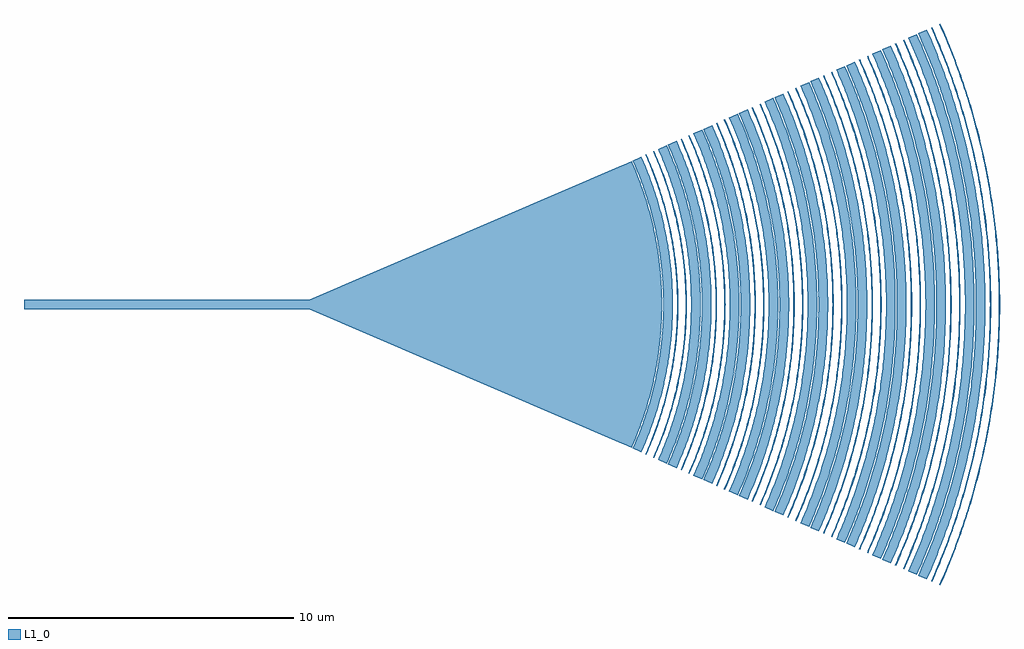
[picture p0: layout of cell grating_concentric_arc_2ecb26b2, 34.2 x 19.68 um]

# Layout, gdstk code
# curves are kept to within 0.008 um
import gdstk
lib = gdstk.Library(unit=1e-6, precision=2e-09)
def R(c, l, rs):  # rectangles x0, y0, x1, y1
    for r in rs: c.add(gdstk.rectangle(r[:2], r[2:], *l))
def P(c, l, *ps):  # polygons
    for p in ps: c.add(gdstk.Polygon(p, *l))
L1_0 = (1, 0)

straight_3aa2beef = lib.new_cell('straight_3aa2beef')
R(straight_3aa2beef, L1_0, [(0,-0.174,10,0.174)])

ring_4ba980b7_transform_ = lib.new_cell('ring_4ba980b7_transform_7ef90d6b')
P(ring_4ba980b7_transform_, L1_0, [(10.05,-4.474),(10.27,-3.942),(10.462,-3.4),(10.626,-2.848),(10.76,-2.288),(10.844,-1.848),(10.926,-1.278),(10.974,-0.768),(11,-0.128),(10.982,0.64),(10.94,1.15),(10.844,1.848),(10.76,2.288),(10.626,2.848),(10.462,3.4),(10.27,3.942),(10.05,4.474),(11.29,5.026),(11.588,4.294),(11.86,3.476),(12.058,2.71),(12.158,2.216),(12.228,1.792),(12.298,1.22),(12.328,0.862),(12.358,0.144),(12.348,-0.504),(12.328,-0.862),(12.248,-1.648),(12.158,-2.216),(12.088,-2.57),(11.88,-3.406),(11.754,-3.818),(11.588,-4.294),(11.29,-5.026)])

ring_e87ca34e_transform_ = lib.new_cell('ring_e87ca34e_transform_d5dbd4fd')
P(ring_e87ca34e_transform_, L1_0, [(11.328,-5.044),(11.524,-4.578),(11.748,-3.968),(11.9,-3.488),(12.066,-2.86),(12.186,-2.296),(12.28,-1.726),(12.34,-1.224),(12.39,-0.504),(12.398,0.216),(12.37,0.864),(12.308,1.512),(12.186,2.296),(12.032,3),(11.858,3.626),(11.628,4.308),(11.328,5.044),(11.636,5.18),(11.918,4.496),(12.114,3.936),(12.284,3.368),(12.474,2.576),(12.592,1.92),(12.682,1.184),(12.732,0.37),(12.732,-0.37),(12.682,-1.184),(12.592,-1.92),(12.474,-2.576),(12.394,-2.938),(12.202,-3.652),(11.944,-4.426),(11.636,-5.18)])

ring_21615634_transform_ = lib.new_cell('ring_21615634_transform_65199da2')
P(ring_21615634_transform_, L1_0, [(11.772,-5.242),(11.92,-4.896),(12.03,-4.618),(12.16,-4.266),(12.256,-3.982),(12.428,-3.408),(12.522,-3.044),(12.604,-2.68),(12.664,-2.386),(12.716,-2.09),(12.808,-1.422),(12.86,-0.824),(12.876,-0.524),(12.886,-0.15),(12.886,0.15),(12.876,0.524),(12.844,1.048),(12.808,1.422),(12.75,1.868),(12.65,2.458),(12.504,3.118),(12.366,3.624),(12.256,3.982),(12.108,4.408),(11.948,4.828),(11.772,5.242),(11.808,5.258),(11.928,4.982),(12.068,4.632),(12.198,4.28),(12.34,3.852),(12.506,3.272),(12.596,2.908),(12.66,2.614),(12.768,2.022),(12.84,1.5),(12.864,1.276),(12.89,0.976),(12.916,0.526),(12.926,0.15),(12.926,-0.15),(12.916,-0.526),(12.9,-0.826),(12.878,-1.126),(12.84,-1.5),(12.756,-2.096),(12.704,-2.392),(12.596,-2.908),(12.506,-3.272),(12.426,-3.564),(12.34,-3.852),(12.198,-4.28),(12.014,-4.772),(11.84,-5.188),(11.808,-5.258)])

ring_7d6dc47c_transform_ = lib.new_cell('ring_7d6dc47c_transform_80d49ab8')
P(ring_7d6dc47c_transform_, L1_0, [(12.044,-5.362),(12.252,-4.868),(12.49,-4.22),(12.694,-3.56),(12.846,-2.966),(12.97,-2.364),(13.076,-1.682),(13.146,-0.996),(13.172,-0.536),(13.182,-0.154),(13.178,0.384),(13.14,1.072),(13.066,1.758),(12.956,2.44),(12.846,2.966),(12.792,3.19),(12.63,3.78),(12.49,4.22),(12.362,4.58),(12.224,4.938),(12.044,5.362),(12.08,5.378),(12.232,5.024),(12.346,4.738),(12.504,4.306),(12.624,3.94),(12.712,3.644),(12.812,3.274),(12.868,3.05),(12.966,2.598),(13.01,2.372),(13.084,1.916),(13.152,1.382),(13.192,0.922),(13.21,0.616),(13.222,0.23),(13.224,-0.076),(13.216,-0.462),(13.202,-0.768),(13.152,-1.382),(13.106,-1.764),(13.036,-2.22),(12.996,-2.448),(12.902,-2.9),(12.812,-3.274),(12.712,-3.644),(12.624,-3.94),(12.504,-4.306),(12.29,-4.882),(12.112,-5.308),(12.08,-5.378)])

ring_78e74c70_transform_ = lib.new_cell('ring_78e74c70_transform_8baa8b7a')
P(ring_78e74c70_transform_, L1_0, [(12.218,-5.44),(12.458,-4.866),(12.62,-4.428),(12.856,-3.686),(13.014,-3.084),(13.128,-2.552),(13.244,-1.862),(13.33,-1.088),(13.366,-0.466),(13.372,0.234),(13.33,1.088),(13.244,1.862),(13.128,2.552),(12.958,3.31),(12.79,3.91),(12.568,4.574),(12.218,5.44),(12.524,5.576),(12.856,4.764),(13.134,3.932),(13.322,3.24),(13.458,2.616),(13.576,1.908),(13.658,1.194),(13.704,0.398),(13.704,-0.398),(13.658,-1.194),(13.598,-1.75),(13.528,-2.224),(13.376,-3.006),(13.134,-3.932),(12.856,-4.764),(12.524,-5.576)])

ring_c558f3fc_transform_ = lib.new_cell('ring_c558f3fc_transform_09b786ca')
P(ring_c558f3fc_transform_, L1_0, [(12.564,-5.594),(12.84,-4.928),(13.08,-4.25),(13.264,-3.636),(13.436,-2.938),(13.558,-2.31),(13.67,-1.518),(13.72,-0.96),(13.748,-0.4),(13.748,0.4),(13.708,1.118),(13.62,1.914),(13.516,2.546),(13.364,3.25),(13.128,4.098),(12.868,4.854),(12.564,5.594),(12.87,5.73),(13.094,5.202),(13.24,4.818),(13.474,4.12),(13.69,3.328),(13.846,2.608),(13.974,1.798),(14.06,0.9),(14.088,0.164),(14.078,-0.574),(14.02,-1.392),(13.916,-2.204),(13.846,-2.608),(13.728,-3.17),(13.588,-3.726),(13.474,-4.12),(13.24,-4.818),(13.094,-5.202),(12.87,-5.73)])

ring_3aac41f4_transform_ = lib.new_cell('ring_3aac41f4_transform_12abd75e')
P(ring_3aac41f4_transform_, L1_0, [(13.008,-5.792),(13.172,-5.412),(13.324,-5.026),(13.41,-4.792),(13.568,-4.322),(13.642,-4.084),(13.776,-3.606),(13.912,-3.042),(13.994,-2.636),(14.052,-2.31),(14.144,-1.654),(14.186,-1.242),(14.216,-0.828),(14.232,-0.496),(14.24,-0.082),(14.232,0.496),(14.216,0.828),(14.162,1.488),(14.124,1.818),(14.078,2.146),(14.024,2.472),(13.946,2.88),(13.894,3.122),(13.776,3.606),(13.618,4.164),(13.464,4.636),(13.324,5.026),(13.172,5.412),(13.008,5.792),(13.046,5.808),(13.178,5.504),(13.362,5.04),(13.582,4.412),(13.728,3.936),(13.794,3.696),(13.896,3.294),(13.986,2.888),(14.064,2.48),(14.118,2.152),(14.194,1.576),(14.218,1.328),(14.246,0.996),(14.272,0.498),(14.28,-0.166),(14.272,-0.498),(14.246,-0.996),(14.194,-1.576),(14.164,-1.822),(14.118,-2.152),(14.064,-2.48),(13.986,-2.888),(13.896,-3.294),(13.728,-3.936),(13.582,-4.412),(13.448,-4.806),(13.272,-5.272),(13.08,-5.732),(13.046,-5.808)])

ring_c8a88486_transform_ = lib.new_cell('ring_c8a88486_transform_b16b1b3a')
P(ring_c8a88486_transform_, L1_0, [(13.282,-5.914),(13.512,-5.368),(13.662,-4.972),(13.774,-4.654),(13.904,-4.25),(14.022,-3.844),(14.204,-3.106),(14.288,-2.692),(14.36,-2.274),(14.398,-2.024),(14.45,-1.604),(14.504,-1.014),(14.53,-0.508),(14.538,-0.17),(14.53,0.508),(14.504,1.014),(14.484,1.268),(14.45,1.604),(14.386,2.108),(14.318,2.524),(14.256,2.858),(14.204,3.106),(14.086,3.6),(14.022,3.844),(13.904,4.25),(13.774,4.654),(13.662,4.972),(13.512,5.368),(13.282,5.914),(13.318,5.93),(13.55,5.382),(13.7,4.986),(13.866,4.506),(14.038,3.936),(14.126,3.61),(14.206,3.28),(14.278,2.948),(14.328,2.698),(14.4,2.28),(14.438,2.03),(14.5,1.524),(14.538,1.102),(14.56,0.764),(14.576,0.34),(14.58,0),(14.576,-0.34),(14.56,-0.764),(14.538,-1.102),(14.5,-1.524),(14.438,-2.03),(14.358,-2.532),(14.312,-2.782),(14.206,-3.28),(14.126,-3.61),(13.966,-4.182),(13.84,-4.586),(13.7,-4.986),(13.518,-5.462),(13.318,-5.93)])

ring_043f274a_transform_ = lib.new_cell('ring_043f274a_transform_ae7f6cba')
P(ring_043f274a_transform_, L1_0, [(13.458,-5.992),(13.722,-5.358),(13.984,-4.634),(14.184,-3.978),(14.354,-3.314),(14.508,-2.558),(14.6,-1.966),(14.668,-1.37),(14.722,-0.514),(14.722,0.514),(14.668,1.37),(14.576,2.134),(14.444,2.894),(14.294,3.564),(14.184,3.978),(13.984,4.634),(13.722,5.358),(13.458,5.992),(13.764,6.128),(14.096,5.318),(14.382,4.488),(14.618,3.644),(14.806,2.788),(14.954,1.836),(15.016,1.226),(15.06,0.438),(15.06,-0.438),(15.016,-1.226),(14.954,-1.836),(14.894,-2.27),(14.822,-2.702),(14.718,-3.218),(14.618,-3.644),(14.458,-4.236),(14.328,-4.656),(14.096,-5.318),(13.764,-6.128)])

ring_db282fc3_transform_ = lib.new_cell('ring_db282fc3_transform_f270ffd5')
P(ring_db282fc3_transform_, L1_0, [(13.804,-6.146),(14.108,-5.416),(14.372,-4.67),(14.55,-4.08),(14.744,-3.314),(14.882,-2.624),(14.988,-1.928),(15.054,-1.316),(15.102,-0.528),(15.11,0.176),(15.068,1.142),(14.988,1.928),(14.834,2.884),(14.662,3.656),(14.526,4.166),(14.372,4.67),(14.108,5.416),(13.804,6.146),(14.11,6.282),(14.452,5.452),(14.744,4.602),(14.848,4.258),(15.008,3.65),(15.162,2.948),(15.296,2.15),(15.402,1.168),(15.442,0.36),(15.442,-0.36),(15.402,-1.168),(15.352,-1.704),(15.27,-2.328),(15.162,-2.948),(15.07,-3.386),(14.848,-4.258),(14.662,-4.858),(14.514,-5.282),(14.388,-5.618),(14.11,-6.282)])

ring_b62f3d1b_transform_ = lib.new_cell('ring_b62f3d1b_transform_1052ee50')
P(ring_b62f3d1b_transform_, L1_0, [(14.25,-6.344),(14.394,-6.012),(14.594,-5.506),(14.778,-4.992),(14.89,-4.648),(14.994,-4.3),(15.09,-3.95),(15.178,-3.598),(15.258,-3.244),(15.346,-2.798),(15.434,-2.26),(15.522,-1.54),(15.572,-0.906),(15.586,-0.636),(15.598,-0.182),(15.598,0.182),(15.586,0.636),(15.554,1.178),(15.522,1.54),(15.434,2.26),(15.362,2.708),(15.294,3.066),(15.178,3.598),(15.09,3.95),(14.994,4.3),(14.89,4.648),(14.778,4.992),(14.594,5.506),(14.394,6.012),(14.25,6.344),(14.286,6.36),(14.396,6.11),(14.568,5.69),(14.726,5.264),(14.902,4.746),(15.008,4.398),(15.13,3.96),(15.218,3.606),(15.316,3.162),(15.402,2.716),(15.474,2.266),(15.544,1.726),(15.58,1.362),(15.618,0.818),(15.63,0.546),(15.638,-0.182),(15.618,-0.818),(15.58,-1.362),(15.544,-1.726),(15.474,-2.266),(15.402,-2.716),(15.334,-3.074),(15.258,-3.43),(15.13,-3.96),(15.058,-4.224),(14.956,-4.572),(14.816,-5.006),(14.568,-5.69),(14.396,-6.11),(14.286,-6.36)])

ring_c989861c_transform_ = lib.new_cell('ring_c989861c_transform_bf6f19c4')
P(ring_c989861c_transform_, L1_0, [(14.524,-6.466),(14.81,-5.784),(14.972,-5.35),(15.092,-5),(15.258,-4.472),(15.358,-4.114),(15.492,-3.576),(15.552,-3.306),(15.658,-2.76),(15.704,-2.488),(15.792,-1.846),(15.854,-1.202),(15.878,-0.832),(15.898,-0.184),(15.898,0.184),(15.886,0.648),(15.854,1.202),(15.822,1.57),(15.792,1.846),(15.704,2.488),(15.658,2.76),(15.552,3.306),(15.492,3.576),(15.358,4.114),(15.204,4.648),(15.092,5),(14.876,5.612),(14.742,5.956),(14.524,6.466),(14.562,6.484),(14.848,5.798),(15.01,5.364),(15.16,4.926),(15.348,4.304),(15.444,3.946),(15.572,3.404),(15.664,2.95),(15.744,2.494),(15.832,1.85),(15.862,1.574),(15.918,0.834),(15.93,0.556),(15.94,0),(15.93,-0.556),(15.918,-0.834),(15.894,-1.204),(15.832,-1.85),(15.758,-2.402),(15.698,-2.768),(15.552,-3.496),(15.444,-3.946),(15.322,-4.394),(15.16,-4.926),(15.01,-5.364),(14.814,-5.884),(14.562,-6.484)])

ring_250f2cf2_transform_ = lib.new_cell('ring_250f2cf2_transform_a652d4ac')
P(ring_250f2cf2_transform_, L1_0, [(14.702,-6.546),(14.956,-5.942),(15.216,-5.24),(15.444,-4.526),(15.66,-3.712),(15.832,-2.886),(15.962,-2.054),(16.04,-1.31),(16.084,-0.562),(16.084,0.562),(16.04,1.31),(15.962,2.054),(15.798,3.07),(15.592,3.984),(15.334,4.884),(15.058,5.68),(14.702,6.546),(15.006,6.682),(15.37,5.798),(15.652,4.986),(15.892,4.16),(16.106,3.228),(16.194,2.758),(16.28,2.192),(16.364,1.432),(16.42,0.478),(16.42,-0.478),(16.356,-1.526),(16.28,-2.192),(16.224,-2.57),(16.106,-3.228),(16.006,-3.696),(15.764,-4.62),(15.532,-5.348),(15.37,-5.798),(15.006,-6.682)])

ring_96a9cfee_transform_ = lib.new_cell('ring_96a9cfee_transform_b83388bf')
P(ring_96a9cfee_transform_, L1_0, [(15.05,-6.7),(15.38,-5.904),(15.638,-5.182),(15.862,-4.448),(16.052,-3.706),(16.224,-2.86),(16.314,-2.292),(16.402,-1.532),(16.464,-0.574),(16.474,0.096),(16.464,0.574),(16.434,1.15),(16.384,1.722),(16.314,2.292),(16.152,3.238),(15.984,3.986),(15.726,4.908),(15.414,5.814),(15.05,6.7),(15.354,6.836),(15.726,5.932),(16.044,5.008),(16.26,4.256),(16.48,3.302),(16.644,2.34),(16.752,1.368),(16.8,0.488),(16.8,-0.488),(16.778,-0.978),(16.734,-1.562),(16.67,-2.146),(16.6,-2.63),(16.48,-3.302),(16.398,-3.686),(16.156,-4.632),(15.984,-5.194),(15.794,-5.748),(15.62,-6.206),(15.354,-6.836)])

ring_41fd5f24_transform_ = lib.new_cell('ring_41fd5f24_transform_ad32b567')
P(ring_41fd5f24_transform_, L1_0, [(15.494,-6.898),(15.69,-6.446),(15.8,-6.17),(15.972,-5.708),(16.132,-5.242),(16.22,-4.96),(16.384,-4.39),(16.482,-4.008),(16.57,-3.622),(16.704,-2.946),(16.768,-2.556),(16.858,-1.872),(16.906,-1.38),(16.938,-0.888),(16.962,-0.098),(16.948,0.69),(16.92,1.184),(16.888,1.576),(16.858,1.872),(16.768,2.556),(16.65,3.236),(16.57,3.622),(16.458,4.104),(16.332,4.58),(16.192,5.054),(16.038,5.522),(15.87,5.986),(15.69,6.446),(15.494,6.898),(15.532,6.916),(15.764,6.368),(15.908,6),(16.076,5.536),(16.17,5.254),(16.37,4.592),(16.496,4.114),(16.61,3.632),(16.69,3.244),(16.776,2.758),(16.85,2.268),(16.898,1.876),(16.954,1.284),(16.984,0.792),(16.998,0.396),(17.002,-0.098),(16.984,-0.792),(16.954,-1.284),(16.898,-1.876),(16.85,-2.268),(16.776,-2.758),(16.69,-3.244),(16.61,-3.632),(16.496,-4.114),(16.344,-4.686),(16.23,-5.066),(16.076,-5.536),(15.836,-6.186),(15.612,-6.734),(15.532,-6.916)])

ring_26d16d3f_transform_ = lib.new_cell('ring_26d16d3f_transform_d3f34240')
P(ring_26d16d3f_transform_, L1_0, [(15.772,-7.022),(15.892,-6.746),(16.118,-6.186),(16.388,-5.43),(16.51,-5.048),(16.65,-4.566),(16.798,-3.982),(16.866,-3.688),(16.966,-3.196),(17.036,-2.8),(17.11,-2.304),(17.148,-2.004),(17.18,-1.704),(17.222,-1.204),(17.254,-0.602),(17.264,-0.1),(17.262,0.302),(17.246,0.804),(17.222,1.204),(17.18,1.704),(17.136,2.104),(17.052,2.7),(17.002,2.998),(16.908,3.492),(16.822,3.884),(16.702,4.372),(16.51,5.048),(16.324,5.62),(16.118,6.186),(15.892,6.746),(15.772,7.022),(15.808,7.038),(15.968,6.668),(16.118,6.296),(16.294,5.824),(16.458,5.348),(16.578,4.962),(16.74,4.382),(16.838,3.99),(16.926,3.598),(17.006,3.202),(17.092,2.706),(17.15,2.308),(17.21,1.808),(17.262,1.208),(17.286,0.806),(17.302,0.302),(17.304,-0.1),(17.286,-0.806),(17.262,-1.208),(17.21,-1.808),(17.15,-2.308),(17.092,-2.706),(17.006,-3.202),(16.926,-3.598),(16.766,-4.284),(16.662,-4.672),(16.548,-5.06),(16.362,-5.634),(16.19,-6.108),(15.968,-6.668),(15.808,-7.038)])

ring_d49cd680_transform_ = lib.new_cell('ring_d49cd680_transform_204ea4fb')
P(ring_d49cd680_transform_, L1_0, [(15.95,-7.102),(16.264,-6.352),(16.542,-5.588),(16.784,-4.812),(17.012,-3.928),(17.12,-3.432),(17.212,-2.932),(17.33,-2.128),(17.41,-1.32),(17.452,-0.508),(17.452,0.508),(17.394,1.522),(17.276,2.53),(17.12,3.432),(16.916,4.322),(16.784,4.812),(16.636,5.298),(16.442,5.876),(16.264,6.352),(15.95,7.102),(16.254,7.236),(16.61,6.376),(16.922,5.498),(17.186,4.604),(17.404,3.7),(17.504,3.192),(17.604,2.578),(17.714,1.654),(17.778,0.724),(17.79,-0.31),(17.768,-0.932),(17.724,-1.55),(17.672,-2.066),(17.604,-2.578),(17.504,-3.192),(17.404,-3.7),(17.186,-4.604),(16.984,-5.3),(16.754,-5.988),(16.458,-6.76),(16.254,-7.236)])

ring_6d525cad_transform_ = lib.new_cell('ring_6d525cad_transform_0de90549')
P(ring_6d525cad_transform_, L1_0, [(16.298,-7.256),(16.656,-6.394),(16.968,-5.514),(17.206,-4.718),(17.384,-4.014),(17.588,-2.996),(17.708,-2.174),(17.798,-1.244),(17.836,-0.416),(17.83,0.622),(17.764,1.658),(17.652,2.586),(17.588,2.996),(17.472,3.608),(17.26,4.518),(16.968,5.514),(16.656,6.394),(16.298,7.256),(16.602,7.392),(16.928,6.612),(17.284,5.616),(17.554,4.704),(17.798,3.674),(17.966,2.738),(18.038,2.214),(18.104,1.584),(18.166,0.528),(18.166,-0.528),(18.104,-1.584),(18.038,-2.214),(17.966,-2.738),(17.878,-3.26),(17.754,-3.882),(17.634,-4.396),(17.498,-4.908),(17.284,-5.616),(17.076,-6.216),(16.85,-6.808),(16.602,-7.392)])

ring_9de17cb0_transform_ = lib.new_cell('ring_9de17cb0_transform_6cb50a73')
P(ring_9de17cb0_transform_, L1_0, [(16.744,-7.456),(16.914,-7.064),(17.074,-6.668),(17.296,-6.068),(17.432,-5.664),(17.62,-5.052),(17.732,-4.64),(17.884,-4.02),(17.992,-3.498),(18.104,-2.868),(18.166,-2.446),(18.218,-2.022),(18.26,-1.598),(18.31,-0.852),(18.322,-0.534),(18.33,0),(18.322,0.534),(18.31,0.852),(18.292,1.172),(18.24,1.81),(18.18,2.34),(18.136,2.656),(18.032,3.288),(17.972,3.602),(17.836,4.226),(17.732,4.64),(17.56,5.256),(17.33,5.968),(17.15,6.468),(16.914,7.064),(16.744,7.456),(16.782,7.472),(16.91,7.178),(17.15,6.584),(17.334,6.082),(17.438,5.778),(17.598,5.268),(17.716,4.858),(17.85,4.34),(17.968,3.82),(18.072,3.296),(18.144,2.874),(18.22,2.344),(18.28,1.814),(18.332,1.174),(18.35,0.854),(18.362,0.534),(18.37,-0.106),(18.362,-0.534),(18.332,-1.174),(18.3,-1.602),(18.258,-2.026),(18.206,-2.45),(18.144,-2.874),(18.072,-3.296),(17.946,-3.924),(17.85,-4.34),(17.688,-4.96),(17.536,-5.472),(17.404,-5.88),(17.15,-6.584),(16.91,-7.178),(16.782,-7.472)])

ring_8789f875_transform_ = lib.new_cell('ring_8789f875_transform_77685f03')
P(ring_8789f875_transform_, L1_0, [(17.022,-7.578),(17.236,-7.08),(17.396,-6.678),(17.546,-6.272),(17.688,-5.862),(17.82,-5.448),(17.942,-5.032),(18.08,-4.508),(18.204,-3.98),(18.292,-3.556),(18.404,-2.914),(18.452,-2.594),(18.532,-1.948),(18.572,-1.516),(18.608,-0.976),(18.626,-0.542),(18.634,-0.108),(18.626,0.542),(18.614,0.866),(18.572,1.516),(18.532,1.948),(18.452,2.594),(18.404,2.914),(18.292,3.556),(18.204,3.98),(18.08,4.508),(17.942,5.032),(17.82,5.448),(17.654,5.964),(17.396,6.678),(17.236,7.08),(17.022,7.578),(17.06,7.596),(17.232,7.196),(17.434,6.692),(17.656,6.08),(17.794,5.668),(17.89,5.356),(18.038,4.834),(18.12,4.518),(18.266,3.882),(18.352,3.456),(18.444,2.922),(18.506,2.492),(18.572,1.952),(18.612,1.52),(18.654,0.868),(18.666,0.544),(18.674,-0.108),(18.666,-0.544),(18.636,-1.194),(18.612,-1.52),(18.548,-2.168),(18.492,-2.598),(18.39,-3.242),(18.31,-3.67),(18.22,-4.094),(18.12,-4.518),(17.98,-5.042),(17.794,-5.668),(17.692,-5.976),(17.434,-6.692),(17.232,-7.196),(17.06,-7.596)])

ring_09fe1b43_transform_ = lib.new_cell('ring_09fe1b43_transform_9acd02da')
P(ring_09fe1b43_transform_, L1_0, [(17.202,-7.66),(17.62,-6.646),(17.876,-5.924),(18.132,-5.086),(18.372,-4.13),(18.564,-3.162),(18.704,-2.186),(18.778,-1.422),(18.826,-0.438),(18.82,0.658),(18.76,1.642),(18.648,2.62),(18.564,3.162),(18.464,3.7),(18.218,4.768),(17.91,5.82),(17.62,6.646),(17.202,7.66),(17.506,7.794),(17.89,6.868),(18.19,6.028),(18.51,4.96),(18.744,3.984),(18.852,3.438),(18.944,2.888),(19.02,2.336),(19.08,1.782),(19.142,0.892),(19.16,0.334),(19.16,-0.334),(19.142,-0.892),(19.108,-1.448),(19.046,-2.114),(18.976,-2.666),(18.852,-3.438),(18.744,-3.984),(18.51,-4.96),(18.292,-5.708),(18.082,-6.344),(17.89,-6.868),(17.506,-7.794)])

ring_1b9ba709_transform_ = lib.new_cell('ring_1b9ba709_transform_0bf0edb7')
P(ring_1b9ba709_transform_, L1_0, [(17.552,-7.814),(17.856,-7.094),(18.238,-6.044),(18.438,-5.404),(18.558,-4.972),(18.77,-4.104),(18.94,-3.226),(19.07,-2.342),(19.158,-1.452),(19.208,-0.448),(19.208,0.448),(19.174,1.228),(19.096,2.12),(18.994,2.896),(18.86,3.666),(18.77,4.104),(18.642,4.648),(18.438,5.404),(18.238,6.044),(18.016,6.676),(17.814,7.198),(17.552,7.814),(17.854,7.95),(18.246,7.004),(18.588,6.04),(18.818,5.278),(18.936,4.838),(19.068,4.286),(19.184,3.73),(19.354,2.72),(19.47,1.704),(19.536,0.568),(19.536,-0.568),(19.47,-1.704),(19.338,-2.832),(19.14,-3.952),(18.964,-4.728),(18.818,-5.278),(18.588,-6.04),(18.404,-6.578),(18.12,-7.322),(17.854,-7.95)])

ring_24df8bd4_transform_ = lib.new_cell('ring_24df8bd4_transform_3c4d0345')
P(ring_24df8bd4_transform_, L1_0, [(17.998,-8.014),(18.136,-7.698),(18.394,-7.06),(18.514,-6.738),(18.738,-6.088),(18.874,-5.65),(19.03,-5.1),(19.144,-4.654),(19.272,-4.096),(19.362,-3.646),(19.46,-3.082),(19.526,-2.628),(19.582,-2.174),(19.626,-1.718),(19.662,-1.26),(19.694,-0.574),(19.702,-0.114),(19.686,0.802),(19.662,1.26),(19.606,1.946),(19.554,2.402),(19.494,2.856),(19.422,3.308),(19.318,3.872),(19.144,4.654),(19.03,5.1),(18.874,5.65),(18.666,6.306),(18.434,6.954),(18.268,7.38),(17.998,8.014),(18.036,8.03),(18.218,7.608),(18.39,7.182),(18.552,6.752),(18.776,6.1),(18.946,5.552),(19.07,5.11),(19.21,4.552),(19.334,3.992),(19.422,3.542),(19.534,2.862),(19.646,1.95),(19.694,1.378),(19.726,0.804),(19.742,-0.114),(19.726,-0.804),(19.702,-1.262),(19.656,-1.836),(19.622,-2.178),(19.534,-2.862),(19.462,-3.314),(19.38,-3.766),(19.262,-4.328),(19.128,-4.888),(18.978,-5.442),(18.846,-5.882),(18.704,-6.318),(18.472,-6.968),(18.218,-7.608),(18.036,-8.03)])

ring_9485e163_transform_ = lib.new_cell('ring_9485e163_transform_af67f533')
P(ring_9485e163_transform_, L1_0, [(18.278,-8.138),(18.418,-7.818),(18.594,-7.386),(18.802,-6.844),(18.956,-6.404),(19.134,-5.85),(19.296,-5.29),(19.442,-4.728),(19.546,-4.274),(19.684,-3.588),(19.762,-3.13),(19.844,-2.554),(19.886,-2.208),(19.942,-1.628),(19.974,-1.164),(20,-0.582),(20.008,-0.116),(19.992,0.814),(19.974,1.164),(19.922,1.86),(19.844,2.554),(19.78,3.014),(19.684,3.588),(19.618,3.932),(19.546,4.274),(19.414,4.84),(19.296,5.29),(19.134,5.85),(18.956,6.404),(18.802,6.844),(18.594,7.386),(18.418,7.818),(18.278,8.138),(18.314,8.154),(18.5,7.726),(18.758,7.076),(18.918,6.638),(19.066,6.196),(19.272,5.526),(19.424,4.964),(19.508,4.624),(19.634,4.054),(19.744,3.482),(19.82,3.02),(19.884,2.558),(19.962,1.864),(20,1.398),(20.032,0.816),(20.048,-0.116),(20.04,-0.584),(20.014,-1.166),(19.982,-1.632),(19.926,-2.212),(19.884,-2.558),(19.802,-3.136),(19.702,-3.71),(19.586,-4.282),(19.424,-4.964),(19.304,-5.414),(19.138,-5.972),(18.994,-6.416),(18.758,-7.076),(18.5,-7.726),(18.314,-8.154)])

ring_f6312f1e_transform_ = lib.new_cell('ring_f6312f1e_transform_ca52c30b')
P(ring_f6312f1e_transform_, L1_0, [(18.46,-8.218),(18.822,-7.352),(19.182,-6.356),(19.488,-5.344),(19.716,-4.43),(19.88,-3.624),(20.042,-2.58),(20.15,-1.526),(20.202,-0.47),(20.202,0.47),(20.15,1.526),(20.084,2.23),(19.94,3.278),(19.836,3.856),(19.716,4.43),(19.578,5.002),(19.358,5.796),(19.182,6.356),(18.948,7.022),(18.692,7.678),(18.46,8.218),(18.762,8.354),(19.042,7.694),(19.258,7.136),(19.64,6.004),(19.838,5.316),(19.956,4.852),(20.16,3.918),(20.246,3.448),(20.354,2.74),(20.458,1.79),(20.502,1.194),(20.532,0.478),(20.532,-0.478),(20.478,-1.552),(20.412,-2.266),(20.354,-2.74),(20.246,-3.448),(20.16,-3.918),(19.984,-4.736),(19.838,-5.316),(19.64,-6.004),(19.338,-6.912),(19.042,-7.694),(18.762,-8.354)])

ring_8a586534_transform_ = lib.new_cell('ring_8a586534_transform_a951a533')
P(ring_8a586534_transform_, L1_0, [(18.808,-8.374),(19.134,-7.602),(19.468,-6.704),(19.792,-5.676),(20.062,-4.632),(20.256,-3.694),(20.436,-2.51),(20.53,-1.556),(20.584,-0.48),(20.584,0.48),(20.554,1.198),(20.464,2.272),(20.336,3.22),(20.256,3.694),(20.114,4.398),(19.978,4.98),(19.792,5.676),(19.582,6.362),(19.348,7.042),(19.09,7.712),(18.808,8.374),(19.11,8.508),(19.304,8.062),(19.53,7.496),(19.896,6.464),(20.238,5.296),(20.356,4.824),(20.512,4.11),(20.602,3.632),(20.716,2.912),(20.84,1.824),(20.884,1.216),(20.914,0.486),(20.914,-0.486),(20.86,-1.58),(20.792,-2.308),(20.716,-2.912),(20.602,-3.632),(20.512,-4.11),(20.356,-4.824),(20.238,-5.296),(20.04,-6),(19.74,-6.926),(19.486,-7.61),(19.11,-8.508)])

ring_ad8dddb4_transform_ = lib.new_cell('ring_ad8dddb4_transform_7e218882')
P(ring_ad8dddb4_transform_, L1_0, [(19.256,-8.574),(19.498,-8.01),(19.722,-7.44),(19.85,-7.094),(20.048,-6.514),(20.194,-6.046),(20.296,-5.692),(20.392,-5.338),(20.566,-4.622),(20.692,-4.022),(20.78,-3.54),(20.874,-2.934),(20.922,-2.568),(20.988,-1.96),(21.028,-1.47),(21.062,-0.858),(21.078,-0.246),(21.078,0.246),(21.062,0.858),(21.028,1.47),(20.988,1.96),(20.922,2.568),(20.82,3.298),(20.736,3.782),(20.644,4.262),(20.51,4.862),(20.392,5.338),(20.296,5.692),(20.122,6.28),(19.97,6.746),(19.766,7.324),(19.498,8.01),(19.256,8.574),(19.294,8.59),(19.582,7.912),(19.76,7.454),(19.888,7.108),(20.086,6.526),(20.232,6.056),(20.4,5.466),(20.522,4.99),(20.658,4.39),(20.754,3.91),(20.84,3.426),(20.914,2.94),(21.004,2.208),(21.028,1.964),(21.084,1.228),(21.114,0.492),(21.12,0),(21.114,-0.492),(21.084,-1.228),(21.068,-1.474),(21.004,-2.208),(20.914,-2.94),(20.84,-3.426),(20.708,-4.15),(20.606,-4.63),(20.522,-4.99),(20.368,-5.584),(20.16,-6.292),(20.008,-6.76),(19.804,-7.338),(19.582,-7.912),(19.294,-8.59)])

ring_7403d5d4_transform_ = lib.new_cell('ring_7403d5d4_transform_3357d2e6')
P(ring_7403d5d4_transform_, L1_0, [(19.538,-8.698),(19.734,-8.242),(19.922,-7.78),(20.14,-7.198),(20.302,-6.728),(20.488,-6.134),(20.626,-5.656),(20.782,-5.054),(20.894,-4.568),(21.018,-3.958),(21.104,-3.468),(21.228,-2.606),(21.27,-2.236),(21.326,-1.616),(21.364,-0.996),(21.386,-0.248),(21.386,0.248),(21.374,0.746),(21.358,1.12),(21.306,1.864),(21.27,2.236),(21.196,2.854),(21.104,3.468),(20.97,4.202),(20.894,4.568),(20.752,5.174),(20.626,5.656),(20.416,6.372),(20.262,6.846),(20.054,7.432),(19.83,8.012),(19.538,8.698),(19.574,8.716),(19.82,8.142),(20.092,7.446),(20.26,6.976),(20.454,6.384),(20.562,6.026),(20.76,5.304),(20.906,4.698),(21.01,4.21),(21.144,3.474),(21.236,2.858),(21.31,2.24),(21.346,1.868),(21.398,1.122),(21.41,0.872),(21.426,0.25),(21.426,-0.25),(21.41,-0.872),(21.366,-1.618),(21.31,-2.24),(21.268,-2.612),(21.164,-3.352),(21.102,-3.72),(21.01,-4.21),(20.906,-4.698),(20.76,-5.304),(20.562,-6.026),(20.454,-6.384),(20.26,-6.976),(20.004,-7.678),(19.772,-8.258),(19.574,-8.716)])

ring_add9daba_transform_ = lib.new_cell('ring_add9daba_transform_d636853d')
P(ring_add9daba_transform_, L1_0, [(19.722,-8.78),(20.154,-7.736),(20.532,-6.67),(20.82,-5.708),(21.09,-4.612),(21.282,-3.624),(21.442,-2.506),(21.544,-1.38),(21.582,-0.502),(21.582,0.502),(21.526,1.632),(21.412,2.756),(21.282,3.624),(21.142,4.366),(21.006,4.978),(20.82,5.708),(20.608,6.432),(20.412,7.028),(20.154,7.736),(19.722,8.78),(20.022,8.914),(20.224,8.446),(20.506,7.734),(20.722,7.136),(20.922,6.53),(21.068,6.04),(21.266,5.302),(21.514,4.182),(21.704,3.05),(21.782,2.418),(21.844,1.784),(21.908,0.638),(21.908,-0.638),(21.844,-1.784),(21.782,-2.418),(21.704,-3.05),(21.606,-3.68),(21.464,-4.432),(21.326,-5.054),(21.17,-5.672),(20.922,-6.53),(20.638,-7.376),(20.368,-8.092),(20.022,-8.914)])

ring_1334f1c6_transform_ = lib.new_cell('ring_1334f1c6_transform_93869892')
P(ring_1334f1c6_transform_, L1_0, [(20.07,-8.936),(20.418,-8.112),(20.646,-7.514),(20.856,-6.91),(21.12,-6.056),(21.318,-5.316),(21.436,-4.818),(21.542,-4.318),(21.68,-3.564),(21.822,-2.55),(21.926,-1.406),(21.964,-0.512),(21.964,0.512),(21.926,1.406),(21.822,2.55),(21.68,3.564),(21.542,4.318),(21.408,4.942),(21.222,5.686),(21.048,6.302),(20.856,6.91),(20.602,7.634),(20.274,8.466),(20.07,8.936),(20.372,9.07),(20.818,7.992),(21.042,7.382),(21.248,6.768),(21.54,5.772),(21.728,5.016),(21.838,4.51),(21.938,4),(22.064,3.232),(22.19,2.202),(22.254,1.426),(22.286,0.778),(22.296,-0.39),(22.262,-1.296),(22.226,-1.814),(22.148,-2.588),(22.082,-3.104),(21.938,-4),(21.838,-4.51),(21.728,-5.016),(21.54,-5.772),(21.248,-6.768),(21.042,-7.382),(20.676,-8.354),(20.372,-9.07)])

ring_cb9ebc21_transform_ = lib.new_cell('ring_cb9ebc21_transform_c9ebe8f6')
P(ring_cb9ebc21_transform_, L1_0, [(20.518,-9.136),(20.676,-8.776),(20.922,-8.172),(21.062,-7.804),(21.28,-7.188),(21.518,-6.442),(21.662,-5.94),(21.794,-5.434),(21.914,-4.926),(22.048,-4.286),(22.12,-3.9),(22.224,-3.256),(22.294,-2.738),(22.364,-2.088),(22.406,-1.566),(22.442,-0.914),(22.46,-0.262),(22.46,0.262),(22.452,0.654),(22.43,1.176),(22.376,1.958),(22.294,2.738),(22.224,3.256),(22.142,3.772),(22.048,4.286),(21.914,4.926),(21.794,5.434),(21.662,5.94),(21.48,6.566),(21.28,7.188),(21.016,7.928),(20.826,8.414),(20.676,8.776),(20.518,9.136),(20.556,9.152),(20.712,8.792),(20.96,8.186),(21.232,7.45),(21.4,6.954),(21.63,6.202),(21.768,5.698),(21.894,5.19),(22.01,4.678),(22.136,4.036),(22.264,3.262),(22.334,2.742),(22.404,2.092),(22.446,1.57),(22.488,0.786),(22.5,0.262),(22.5,-0.262),(22.488,-0.786),(22.446,-1.57),(22.404,-2.092),(22.334,-2.742),(22.264,-3.262),(22.182,-3.778),(22.088,-4.294),(21.954,-4.934),(21.768,-5.698),(21.63,-6.202),(21.518,-6.578),(21.318,-7.202),(21.144,-7.696),(20.96,-8.186),(20.762,-8.672),(20.556,-9.152)])

ring_e77836c3_transform_ = lib.new_cell('ring_e77836c3_transform_fe6c08b1')
P(ring_e77836c3_transform_, L1_0, [(20.802,-9.262),(21.012,-8.774),(21.306,-8.036),(21.53,-7.414),(21.656,-7.036),(21.776,-6.658),(21.96,-6.022),(22.062,-5.638),(22.216,-4.994),(22.352,-4.344),(22.49,-3.562),(22.584,-2.906),(22.632,-2.512),(22.706,-1.72),(22.74,-1.192),(22.764,-0.53),(22.77,-0.132),(22.764,0.53),(22.74,1.192),(22.706,1.72),(22.66,2.248),(22.584,2.906),(22.51,3.432),(22.424,3.954),(22.3,4.604),(22.216,4.994),(22.062,5.638),(21.96,6.022),(21.776,6.658),(21.53,7.414),(21.306,8.036),(21.012,8.774),(20.802,9.262),(20.838,9.278),(21.1,8.668),(21.296,8.174),(21.524,7.552),(21.694,7.048),(21.89,6.414),(22.068,5.776),(22.226,5.132),(22.34,4.612),(22.44,4.092),(22.53,3.568),(22.624,2.912),(22.686,2.384),(22.746,1.724),(22.78,1.194),(22.804,0.53),(22.81,-0.132),(22.804,-0.53),(22.78,-1.194),(22.746,-1.724),(22.672,-2.516),(22.57,-3.306),(22.508,-3.7),(22.392,-4.352),(22.256,-5.002),(22.068,-5.776),(21.926,-6.288),(21.814,-6.67),(21.568,-7.426),(21.39,-7.926),(21.1,-8.668),(20.838,-9.278)])

ring_5b3ce82a_transform_ = lib.new_cell('ring_5b3ce82a_transform_688290b2')
P(ring_5b3ce82a_transform_, L1_0, [(20.986,-9.344),(21.35,-8.482),(21.722,-7.48),(22.084,-6.332),(22.258,-5.688),(22.414,-5.038),(22.624,-3.99),(22.75,-3.198),(22.818,-2.668),(22.918,-1.602),(22.97,-0.4),(22.964,0.668),(22.908,1.736),(22.786,2.932),(22.624,3.99),(22.526,4.514),(22.354,5.298),(22.156,6.074),(21.97,6.716),(21.722,7.48),(21.542,7.982),(21.25,8.73),(20.986,9.344),(21.286,9.478),(21.604,8.728),(21.802,8.224),(22.032,7.586),(22.202,7.072),(22.542,5.9),(22.82,4.712),(23.014,3.646),(23.11,2.974),(23.2,2.166),(23.282,0.948),(23.3,0.136),(23.294,-0.542),(23.276,-1.084),(23.224,-1.896),(23.158,-2.57),(23.074,-3.242),(22.97,-3.912),(22.82,-4.712),(22.542,-5.9),(22.322,-6.682),(22.032,-7.586),(21.704,-8.476),(21.286,-9.478)])

ring_d78f2856_transform_ = lib.new_cell('ring_d78f2856_transform_2bbf995c')
P(ring_d78f2856_transform_, L1_0, [(21.336,-9.5),(21.706,-8.624),(22.128,-7.476),(22.452,-6.438),(22.63,-5.782),(22.788,-5.122),(23.002,-4.056),(23.166,-2.982),(23.29,-1.764),(23.35,-0.544),(23.35,0.544),(23.29,1.764),(23.166,2.982),(23.002,4.056),(22.758,5.254),(22.596,5.914),(22.336,6.828),(22.128,7.476),(21.854,8.244),(21.656,8.75),(21.336,9.5),(21.636,9.634),(21.908,9),(22.16,8.358),(22.394,7.71),(22.566,7.188),(22.728,6.66),(22.912,5.996),(23.108,5.194),(23.222,4.654),(23.348,3.976),(23.454,3.296),(23.582,2.202),(23.636,1.514),(23.67,0.826),(23.684,0.138),(23.678,-0.552),(23.652,-1.24),(23.606,-1.926),(23.54,-2.612),(23.454,-3.296),(23.348,-3.976),(23.222,-4.654),(23.108,-5.194),(22.912,-5.996),(22.728,-6.66),(22.394,-7.71),(21.96,-8.872),(21.636,-9.634)])

ring_924474b5_transform_ = lib.new_cell('ring_924474b5_transform_6d0f6ebf')
P(ring_924474b5_transform_, L1_0, [(21.786,-9.7),(22.006,-9.19),(22.264,-8.546),(22.456,-8.026),(22.68,-7.37),(22.924,-6.574),(23.07,-6.038),(23.204,-5.5),(23.326,-4.958),(23.436,-4.414),(23.532,-3.868),(23.616,-3.318),(23.702,-2.63),(23.78,-1.802),(23.822,-1.11),(23.838,-0.694),(23.848,0),(23.838,0.694),(23.822,1.11),(23.78,1.802),(23.702,2.63),(23.616,3.318),(23.532,3.868),(23.436,4.414),(23.326,4.958),(23.204,5.5),(23.07,6.038),(22.924,6.574),(22.722,7.238),(22.548,7.764),(22.41,8.156),(22.264,8.546),(22.006,9.19),(21.786,9.7),(21.822,9.716),(22.096,9.078),(22.35,8.43),(22.494,8.04),(22.718,7.382),(22.924,6.718),(23.074,6.182),(23.244,5.508),(23.366,4.966),(23.5,4.284),(23.594,3.736),(23.674,3.186),(23.742,2.636),(23.784,2.22),(23.83,1.666),(23.862,1.112),(23.878,0.694),(23.888,0),(23.878,-0.694),(23.862,-1.112),(23.83,-1.666),(23.784,-2.22),(23.742,-2.636),(23.674,-3.186),(23.594,-3.736),(23.5,-4.284),(23.366,-4.966),(23.244,-5.508),(23.074,-6.182),(22.844,-6.984),(22.63,-7.646),(22.494,-8.04),(22.35,-8.43),(22.096,-9.078),(21.822,-9.716)])

ring_9c35cf03_transform_ = lib.new_cell('ring_9c35cf03_transform_3ddad030')
P(ring_9c35cf03_transform_, L1_0, [(22.07,-9.826),(22.4,-9.05),(22.554,-8.658),(22.75,-8.13),(23.02,-7.332),(23.184,-6.794),(23.336,-6.252),(23.442,-5.844),(23.602,-5.16),(23.742,-4.472),(23.862,-3.78),(23.962,-3.084),(24.012,-2.666),(24.054,-2.246),(24.11,-1.544),(24.144,-0.844),(24.158,-0.14),(24.152,0.562),(24.126,1.264),(24.09,1.826),(24.054,2.246),(23.996,2.804),(23.904,3.502),(23.792,4.196),(23.66,4.886),(23.508,5.572),(23.372,6.116),(23.184,6.794),(23.02,7.332),(22.75,8.13),(22.554,8.658),(22.4,9.05),(22.07,9.826),(22.106,9.842),(22.276,9.456),(22.592,8.672),(22.788,8.144),(23.058,7.344),(23.262,6.67),(23.374,6.264),(23.514,5.718),(23.67,5.032),(23.832,4.202),(23.944,3.508),(24.036,2.81),(24.094,2.25),(24.15,1.548),(24.184,0.844),(24.198,0.282),(24.198,-0.282),(24.184,-0.844),(24.15,-1.548),(24.094,-2.25),(24.036,-2.81),(23.944,-3.508),(23.856,-4.064),(23.754,-4.618),(23.61,-5.306),(23.446,-5.99),(23.262,-6.67),(23.142,-7.076),(22.926,-7.746),(22.788,-8.144),(22.642,-8.54),(22.384,-9.196),(22.106,-9.842)])

grating_concentric_arc_2 = lib.new_cell('grating_concentric_arc_2ecb26b2')
P(grating_concentric_arc_2, L1_0, [(0,0.174),(0,-0.174),(10.962,-4.882),(11.006,-4.786),(11.24,-4.202),(11.476,-3.508),(11.644,-2.902),(11.78,-2.29),(11.868,-1.774),(11.954,-1.046),(11.99,-0.524),(12,0.104),(11.99,0.524),(11.934,1.254),(11.836,1.98),(11.738,2.496),(11.564,3.206),(11.38,3.808),(11.126,4.496),(10.962,4.882)])
grating_concentric_arc_2.add(gdstk.Reference(straight_3aa2beef, (-10,0)))
grating_concentric_arc_2.add(gdstk.Reference(ring_4ba980b7_transform_, (0,0)))
grating_concentric_arc_2.add(gdstk.Reference(ring_e87ca34e_transform_, (0,0)))
grating_concentric_arc_2.add(gdstk.Reference(ring_21615634_transform_, (0,0)))
grating_concentric_arc_2.add(gdstk.Reference(ring_7d6dc47c_transform_, (0,0)))
grating_concentric_arc_2.add(gdstk.Reference(ring_78e74c70_transform_, (0,0)))
grating_concentric_arc_2.add(gdstk.Reference(ring_c558f3fc_transform_, (0,0)))
grating_concentric_arc_2.add(gdstk.Reference(ring_3aac41f4_transform_, (0,0)))
grating_concentric_arc_2.add(gdstk.Reference(ring_c8a88486_transform_, (0,0)))
grating_concentric_arc_2.add(gdstk.Reference(ring_043f274a_transform_, (0,0)))
grating_concentric_arc_2.add(gdstk.Reference(ring_db282fc3_transform_, (0,0)))
grating_concentric_arc_2.add(gdstk.Reference(ring_b62f3d1b_transform_, (0,0)))
grating_concentric_arc_2.add(gdstk.Reference(ring_c989861c_transform_, (0,0)))
grating_concentric_arc_2.add(gdstk.Reference(ring_250f2cf2_transform_, (0,0)))
grating_concentric_arc_2.add(gdstk.Reference(ring_96a9cfee_transform_, (0,0)))
grating_concentric_arc_2.add(gdstk.Reference(ring_41fd5f24_transform_, (0,0)))
grating_concentric_arc_2.add(gdstk.Reference(ring_26d16d3f_transform_, (0,0)))
grating_concentric_arc_2.add(gdstk.Reference(ring_d49cd680_transform_, (0,0)))
grating_concentric_arc_2.add(gdstk.Reference(ring_6d525cad_transform_, (0,0)))
grating_concentric_arc_2.add(gdstk.Reference(ring_9de17cb0_transform_, (0,0)))
grating_concentric_arc_2.add(gdstk.Reference(ring_8789f875_transform_, (0,0)))
grating_concentric_arc_2.add(gdstk.Reference(ring_09fe1b43_transform_, (0,0)))
grating_concentric_arc_2.add(gdstk.Reference(ring_1b9ba709_transform_, (0,0)))
grating_concentric_arc_2.add(gdstk.Reference(ring_24df8bd4_transform_, (0,0)))
grating_concentric_arc_2.add(gdstk.Reference(ring_9485e163_transform_, (0,0)))
grating_concentric_arc_2.add(gdstk.Reference(ring_f6312f1e_transform_, (0,0)))
grating_concentric_arc_2.add(gdstk.Reference(ring_8a586534_transform_, (0,0)))
grating_concentric_arc_2.add(gdstk.Reference(ring_ad8dddb4_transform_, (0,0)))
grating_concentric_arc_2.add(gdstk.Reference(ring_7403d5d4_transform_, (0,0)))
grating_concentric_arc_2.add(gdstk.Reference(ring_add9daba_transform_, (0,0)))
grating_concentric_arc_2.add(gdstk.Reference(ring_1334f1c6_transform_, (0,0)))
grating_concentric_arc_2.add(gdstk.Reference(ring_cb9ebc21_transform_, (0,0)))
grating_concentric_arc_2.add(gdstk.Reference(ring_e77836c3_transform_, (0,0)))
grating_concentric_arc_2.add(gdstk.Reference(ring_5b3ce82a_transform_, (0,0)))
grating_concentric_arc_2.add(gdstk.Reference(ring_d78f2856_transform_, (0,0)))
grating_concentric_arc_2.add(gdstk.Reference(ring_924474b5_transform_, (0,0)))
grating_concentric_arc_2.add(gdstk.Reference(ring_9c35cf03_transform_, (0,0)))

lib.write_gds('grating_concentric_arc_2ecb26b2.gds')
